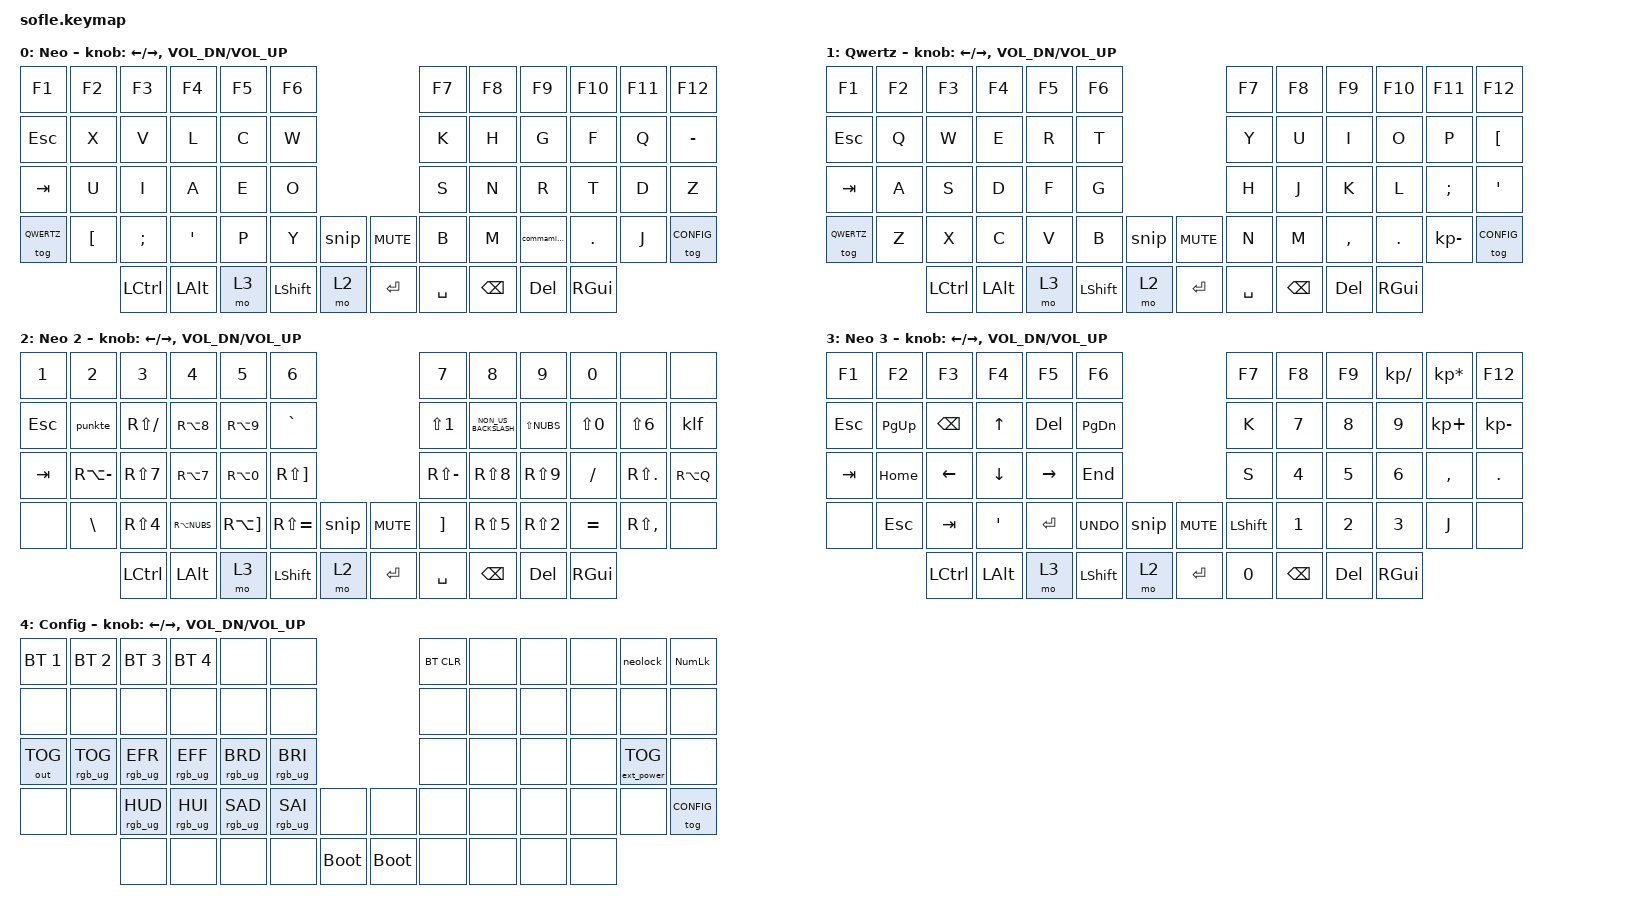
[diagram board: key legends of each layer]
/*
 * Copyright (c) 2020 The ZMK Contributors
 *
 * SPDX-License-Identifier: MIT
 */

#include <behaviors.dtsi>
#include <dt-bindings/zmk/keys.h>
#include <dt-bindings/zmk/bt.h>
#include <dt-bindings/zmk/rgb.h>
#include <dt-bindings/zmk/ext_power.h>
#include <dt-bindings/zmk/outputs.h>


&left_encoder { resolution = <4>; };
&right_encoder { resolution = <4>; };

#define NEO1 0
#define QWERTZ 1
#define NEO2 2
#define NEO3 3
#define CONFIG 4

#define NUBS NON_US_BACKSLASH

/ {

     keymap {
        compatible = "zmk,keymap";

        default_layer {
        label = "  Neo";
        bindings = <
 &kp F1   &kp F2       &kp F3     &kp F4    &kp F5    &kp F6                           &kp F7     &kp F8    &kp F9       &kp F10  &kp F11  &kp F12
 &kp ESC  &kp X        &kp V      &kp L     &kp C     &kp W                            &kp K      &kp H     &kp G        &kp F    &kp Q    &kp MINUS
 &kp TAB      &kp U    &kp I      &kp A     &kp E     &kp O                            &kp S      &kp N     &kp R        &kp T    &kp D    &kp Z
 &tog QWERTZ  &kp LBKT &kp SEMI   &kp SQT   &kp P     &kp Y       &snip  &kp C_MUTE    &kp B      &kp M     &commaminus  &kp DOT  &kp J    &tog CONFIG
                       &kp LCTRL  &kp LALT  &mo 3     &kp LSHIFT  &mo 2       &kp RET  &kp SPACE  &kp BSPC  &kp DEL      &kp RGUI
            >;

            sensor-bindings = <&inc_dec_kp LEFT RIGHT &inc_dec_kp C_VOL_DN C_VOL_UP>;
        };

        qwertz_layer {
        label = "  Qwertz";
        bindings = <
&kp F1      &kp F2     &kp F3    &kp F4    &kp F5      &kp F6                              &kp F7     &kp F8    &kp F9     &kp F10  &kp F11       &kp F12
&kp ESC     &kp Q      &kp W     &kp E     &kp R       &kp T                               &kp Y      &kp U     &kp I      &kp O    &kp P         &kp LBKT
&kp TAB     &kp A      &kp S     &kp D     &kp F       &kp G                               &kp H      &kp J     &kp K      &kp L    &kp SEMI      &kp SQT
&tog QWERTZ &kp Z      &kp X     &kp C     &kp V       &kp B        &snip  &kp C_MUTE      &kp N      &kp M     &kp COMMA  &kp DOT  &kp KP_MINUS  &tog CONFIG
                       &kp LCTRL &kp LALT  &mo 3       &kp LSHIFT   &mo 2       &kp RET    &kp SPACE  &kp BSPC  &kp DEL    &kp RGUI
            >;

            sensor-bindings = <&inc_dec_kp LEFT RIGHT &inc_dec_kp C_VOL_DN C_VOL_UP>;
        };

        neo2_layer {
        label = "  Neo 2";
        bindings = <
&kp N1    &kp N2        &kp N3        &kp N4       &kp N5       &kp N6                            &kp N7        &kp N8     &kp N9       &kp N0     &none         &none
&kp ESC   &punkte       &kp RS(SLASH) &kp RA(N8)   &kp RA(N9)   &kp GRAVE                         &kp LS(N1)    &kp NUBS   &kp LS(NUBS) &kp LS(N0) &kp LS(N6)    &klf
&kp TAB   &kp RA(MINUS) &kp RS(N7)    &kp RA(N7)   &kp RA(N0)   &kp RS(RBKT)                      &kp RS(MINUS) &kp RS(N8) &kp RS(N9)   &kp SLASH  &kp RS(DOT)   &kp RA(Q)
&none     &kp BSLH      &kp RS(N4)    &kp RA(NUBS) &kp RA(RBKT) &kp RS(EQUAL) &snip  &kp C_MUTE   &kp RBKT      &kp RS(N5) &kp RS(N2)   &kp EQUAL  &kp RS(COMMA) &none
                        &kp LCTRL     &kp LALT     &mo 3        &kp LSHIFT    &mo 2       &kp RET &kp SPACE     &kp BSPC   &kp DEL      &kp RGUI
            >;

            sensor-bindings = <&inc_dec_kp LEFT RIGHT &inc_dec_kp C_VOL_DN C_VOL_UP>;

        };

        neo3_layer {
        label = "  Neo 3";
        bindings = <
&kp F1   &kp F2     &kp F3     &kp F4    &kp F5    &kp F6                          &kp F7     &kp F8    &kp F9   &kp KP_DIVIDE  &kp KP_MULTIPLY  &kp F12
&kp ESC  &kp PG_UP  &kp BSPC   &kp UP    &kp DEL   &kp PG_DN                       &kp K      &kp N7    &kp N8   &kp N9         &kp KP_PLUS      &kp KP_MINUS
&kp TAB  &kp HOME   &kp LEFT   &kp DOWN  &kp RIGHT &kp END                         &kp S      &kp N4    &kp N5   &kp N6         &kp COMMA        &kp DOT
&none    &kp ESC    &kp TAB    &kp SQT   &kp ENTER &kp K_UNDO  &snip  &kp C_MUTE   &kp LSHIFT &kp N1    &kp N2   &kp N3         &kp J            &none
                    &kp LCTRL  &kp LALT  &mo 3     &kp LSHIFT  &mo 2       &kp RET &kp N0  &kp BSPC  &kp DEL  &kp RGUI
        >;

            sensor-bindings = <&inc_dec_kp LEFT RIGHT &inc_dec_kp C_VOL_DN C_VOL_UP>;

        };

        config_layer {
        label = "  Config";
        bindings = <
&bt BT_SEL 1  &bt BT_SEL 2    &bt BT_SEL 3     &bt BT_SEL 4     &none            &none                                      &bt BT_CLR  &none       &none     &none  &neolock          &kp KP_NUMLOCK
&none         &none           &none            &none            &none            &none                                      &none       &none       &none     &none  &none             &none
&out OUT_TOG  &rgb_ug RGB_TOG &rgb_ug RGB_EFR  &rgb_ug RGB_EFF  &rgb_ug RGB_BRD  &rgb_ug RGB_BRI                            &none       &none       &none     &none  &ext_power EP_TOG &none
&none         &none           &rgb_ug RGB_HUD  &rgb_ug RGB_HUI  &rgb_ug RGB_SAD  &rgb_ug RGB_SAI  &none        &none        &none       &none       &none     &none  &none             &tog CONFIG
                              &none            &none            &none            &none            &bootloader  &bootloader  &none       &none       &none     &none
        >;

            sensor-bindings = <&inc_dec_kp LEFT RIGHT &inc_dec_kp C_VOL_DN C_VOL_UP>;

        };

    };
};
/ {
    behaviors {
        commaminus: comma_minus {
            compatible = "zmk,behavior-mod-morph";
            label = "COMMA_MINUS";
            #binding-cells = <0>;
            bindings =
                <&kp COMMA>,
                <&kp KP_MINUS>;

            mods = <(MOD_LSFT|MOD_RSFT)>;
        };
    };
};

/ {
    macros {
        punkte: punkte {
            label = "ZM_punkte";
            compatible = "zmk,behavior-macro";
            #binding-cells = <0>;
            bindings =
                <&macro_press>,
                <&kp LALT>,
                <&macro_tap>,
                <&kp KP_N0 &kp KP_N1 &kp KP_N3 &kp KP_N3>,
                <&macro_release>,
                <&kp LALT>;
        };
        klf: klf {
            label = "ZM_klf";
            compatible = "zmk,behavior-macro";
            #binding-cells = <0>;
            bindings =
                <&macro_press>,
                <&kp LALT>,
                <&macro_tap>,
                <&kp KP_N0 &kp KP_N1 &kp KP_N3 &kp KP_N1>,
                <&macro_release>,
                <&kp LALT>;
        };
        snip: snip {
            label = "ZM_snip";
            compatible = "zmk,behavior-macro";
            #binding-cells = <0>;
            bindings =
              <&macro_press &kp LGUI &kp LSHFT>
			, <&macro_tap &kp S>
			, <&macro_release &kp LGUI &kp LSHFT>;
        };
        neolock: neolock {
            label = "ZM_neolock";
            compatible = "zmk,behavior-macro";
            #binding-cells = <0>;
            bindings =
              <&macro_press &kp LSHIFT &kp CAPS>
			, <&macro_tap &kp TAB>
			, <&macro_release &kp LSHIFT &kp CAPS>;
        };
    };
};
